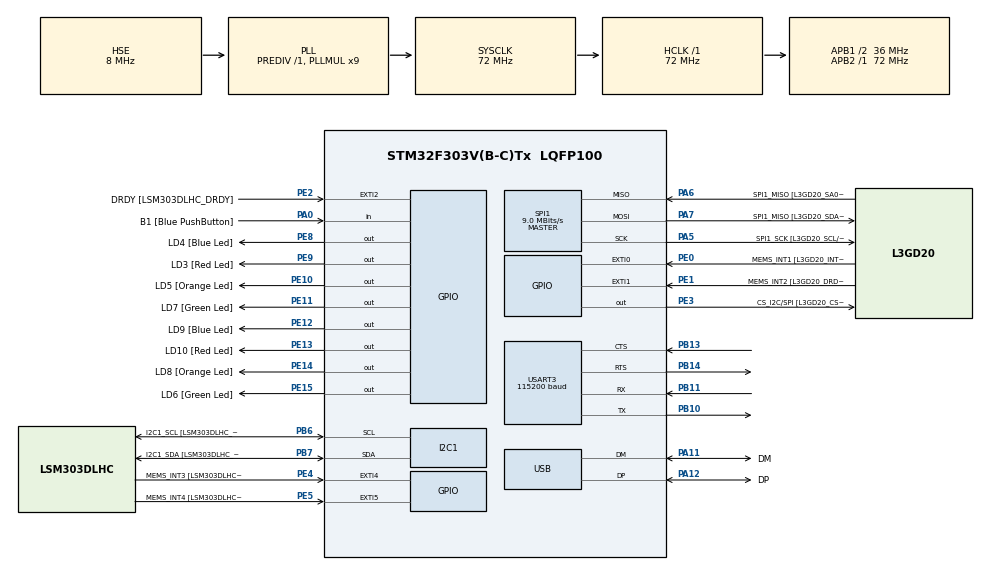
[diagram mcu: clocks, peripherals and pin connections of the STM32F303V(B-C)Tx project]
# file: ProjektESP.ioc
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I2C1.Timing=0x00201D2B
I2C1.Timing-I2C=0x2000090E
Mcu.Family=STM32F3
Mcu.Name=STM32F303V(B-C)Tx
Mcu.Package=LQFP100
NVIC.PriorityGroup=NVIC_PRIORITYGROUP_0
NVIC.USART3_IRQn=true\:0\:0\:false\:false\:true\:true\:true\:true
NVIC.USB_LP_CAN_RX0_IRQn=true\:0\:0\:false\:false\:true\:false\:true\:true
PA0.GPIO_Label=B1 [Blue PushButton]
PA0.Signal=GPIO_Input
PA11.GPIO_Label=DM
PA11.Mode=Device
PA11.Signal=USB_DM
PA12.GPIO_Label=DP
PA12.Mode=Device
PA12.Signal=USB_DP
PA13.GPIO_Label=SWDIO
PA13.Mode=Serial_Wire
PA13.Signal=SYS_JTMS-SWDIO
PA14.GPIO_Label=SWCLK
PA14.Mode=Serial_Wire
PA14.Signal=SYS_JTCK-SWCLK
PA5.GPIO_Label=SPI1_SCK [L3GD20_SCL/SPC]
PA5.Mode=Full_Duplex_Master
PA5.Signal=SPI1_SCK
PA6.GPIO_Label=SPI1_MISO [L3GD20_SA0/SDO]
PA6.Mode=Full_Duplex_Master
PA6.Signal=SPI1_MISO
PA7.GPIO_Label=SPI1_MISO [L3GD20_SDA/SDI/SDO]
PA7.Mode=Full_Duplex_Master
PA7.Signal=SPI1_MOSI
PB10.Mode=Asynchronous
PB10.Signal=USART3_TX
PB11.Mode=Asynchronous
PB11.Signal=USART3_RX
PB13.Mode=CTS_RTS
PB13.Signal=USART3_CTS
PB14.Mode=CTS_RTS
PB14.Signal=USART3_RTS
PB3.GPIO_Label=SWO
PB3.Signal=SYS_JTDO-TRACESWO
PB6.GPIO_Label=I2C1_SCL [LSM303DLHC_SCL]
PB6.GPIO_Pu=GPIO_PULLUP
PB6.Mode=I2C
PB6.Signal=I2C1_SCL
PB7.GPIO_Label=I2C1_SDA [LSM303DLHC_SDA]
PB7.GPIO_Pu=GPIO_PULLUP
PB7.Mode=I2C
PB7.Signal=I2C1_SDA
PC14-OSC32_IN.GPIO_Label=OSC32_IN
PC14-OSC32_IN.Signal=RCC_OSC32_IN
PC15-OSC32_OUT.GPIO_Label=OSC32_OUT
PC15-OSC32_OUT.Signal=RCC_OSC32_OUT
PE0.GPIO_Label=MEMS_INT1 [L3GD20_INT1]
PE0.GPIO_ModeDefaultEXTI=GPIO_MODE_EVT_RISING
PE0.Signal=GPXTI0
PE1.GPIO_Label=MEMS_INT2 [L3GD20_DRDY/INT2]
PE1.GPIO_ModeDefaultEXTI=GPIO_MODE_EVT_RISING
PE1.Signal=GPXTI1
PE10.GPIO_Label=LD5 [Orange Led]
PE10.Signal=GPIO_Output
PE11.GPIO_Label=LD7 [Green Led]
PE11.Signal=GPIO_Output
PE12.GPIO_Label=LD9 [Blue Led]
PE12.Signal=GPIO_Output
PE13.GPIO_Label=LD10 [Red Led]
PE13.Signal=GPIO_Output
PE14.GPIO_Label=LD8 [Orange Led]
PE14.Signal=GPIO_Output
PE15.GPIO_Label=LD6 [Green Led]
PE15.Signal=GPIO_Output
PE2.GPIO_Label=DRDY [LSM303DLHC_DRDY]
PE2.GPIO_ModeDefaultEXTI=GPIO_MODE_EVT_RISING
PE2.Signal=GPXTI2
PE3.GPIO_Label=CS_I2C/SPI [L3GD20_CS_I2C/SPI]
PE3.GPIO_Speed=GPIO_SPEED_FREQ_HIGH
PE3.Signal=GPIO_Output
PE4.GPIO_Label=MEMS_INT3 [LSM303DLHC_INT1]
PE4.GPIO_ModeDefaultEXTI=GPIO_MODE_EVT_RISING
PE4.Signal=GPXTI4
PE5.GPIO_Label=MEMS_INT4 [LSM303DLHC_INT2]
PE5.GPIO_ModeDefaultEXTI=GPIO_MODE_EVT_RISING
PE5.Signal=GPXTI5
PE8.GPIO_Label=LD4 [Blue Led]
PE8.Signal=GPIO_Output
PE9.GPIO_Label=LD3 [Red Led]
PE9.Signal=GPIO_Output
PF0-OSC_IN.GPIO_Label=OSC_IN
PF0-OSC_IN.Mode=HSE-External-Clock-Source
PF0-OSC_IN.Signal=RCC_OSC_IN
PF1-OSC_OUT.GPIO_Label=OSC_OUT
PF1-OSC_OUT.Signal=RCC_OSC_OUT
ProjectManager.HeapSize=0x200
ProjectManager.StackSize=0x400
ProjectManager.TargetToolchain=STM32CubeIDE
RCC.AHBFreq_Value=72000000
RCC.APB1CLKDivider=RCC_HCLK_DIV2
RCC.APB1Freq_Value=36000000
RCC.APB1TimFreq_Value=72000000
RCC.APB2Freq_Value=72000000
RCC.APB2TimFreq_Value=72000000
RCC.CortexFreq_Value=72000000
RCC.HCLKFreq_Value=72000000
RCC.HSE_VALUE=8000000
RCC.HSI_VALUE=8000000
RCC.LSE_VALUE=32768
RCC.PLLMUL=RCC_PLL_MUL9
RCC.PRESCALERUSB=RCC_USBCLKSOURCE_PLL_DIV1_5
RCC.SYSCLKFreq_VALUE=72000000
RCC.SYSCLKSourceVirtual=RCC_SYSCLKSOURCE_PLLCLK
RCC.USBFreq_Value=48000000
SPI1.BaudRatePrescaler=SPI_BAUDRATEPRESCALER_8
SPI1.BaudRatePrescaler-Full_Duplex_Master=SPI_BAUDRATEPRESCALER_2
SPI1.CLKPhase=SPI_PHASE_2EDGE
SPI1.CLKPolarity=SPI_POLARITY_HIGH
SPI1.CalculateBaudRate=9.0 MBits/s
SPI1.CalculateBaudRate-Full_Duplex_Master=24.0 MBits/s
SPI1.DataSize=SPI_DATASIZE_8BIT
SPI1.Direction=SPI_DIRECTION_2LINES
SPI1.Mode=SPI_MODE_MASTER
SPI1.Mode-Full_Duplex_Master=SPI_MODE_MASTER
SPI1.VirtualType=VM_MASTER
TIM2.Period=119
TIM2.Prescaler=599
TIM3.Period=119
TIM3.Prescaler=599
USART3.BaudRate=115200
USART3.VirtualMode-Asynchronous=VM_ASYNC
USB_DEVICE.CLASS_NAME_FS=CDC
USB_DEVICE.VirtualMode=Cdc
USB_DEVICE.VirtualModeFS=Cdc_FS
VP_TIM2_VS_ClockSourceINT.Mode=Internal
VP_TIM3_VS_ClockSourceINT.Mode=Internal
VP_USB_DEVICE_VS_USB_DEVICE_CDC_FS.Mode=CDC_FS
board=STM32F3DISCOVERY

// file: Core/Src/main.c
/* USER CODE BEGIN Header */
/**
  ******************************************************************************
  * @file           : main.c
  * @brief          : Main program body
  ******************************************************************************
  * @attention
  *
  * Copyright (c) 2025 STMicroelectronics.
  * All rights reserved.
  *
  * This software is licensed under terms that can be found in the LICENSE file
  * in the root directory of this software component.
  * If no LICENSE file comes with this software, it is provided AS-IS.
  *
  ******************************************************************************
  */
/* USER CODE END Header */
#include "main.h"
#include "usb_device.h"

/* USER CODE BEGIN Includes */
#include "usbd_cdc_if.h"
#include <stdio.h>
#include <string.h>
#include <stdbool.h>
#include <stddef.h>
/* USER CODE END Includes */

/* USER CODE BEGIN PD */
#define GYRO_SENS_500DPS  (0.0175f)

// Filter parameters
#define GYRO_FS_HZ         (190.0f)      // sampling frequency (Hz) - prilagodi 190 ali 200
#define FILTER_FC_HZ       (20.0f)        // cutoff frequency (Hz) - spreminjaj za nalogo
#define PI_F               (3.1415926f)
/* USER CODE END PD */

I2C_HandleTypeDef hi2c1;

SPI_HandleTypeDef hspi1;

TIM_HandleTypeDef htim2;
TIM_HandleTypeDef htim3;

UART_HandleTypeDef huart3;

/* USER CODE BEGIN PV */
volatile uint8_t gyro_data_ready = 0;
volatile uint32_t packet_counter = 0;

volatile uint8_t  bias_calibrating = 0;
volatile uint8_t  bias_done        = 0;
volatile uint32_t tim3_ticks       = 0;

int32_t bias_sum_x = 0;
int32_t bias_sum_y = 0;
int32_t bias_sum_z = 0;
uint32_t bias_sample_count = 0;

float bias_x = 0.0f;
float bias_y = 0.0f;
float bias_z = 0.0f;

float filt_x = 0.0f;
float filt_y = 0.0f;
float filt_z = 0.0f;
uint8_t filter_initialized = 0;

float filter_alpha = 0.0f;

int16_t raw[3];      // raw X, Y, Z
char tx_buf[128];    // JSON line

uint8_t bias_applied = 0;//

/*static const char http_hello[] =
"HTTP/1.1 200 OK\r\n"
"Content-Type: text/html\r\n"
"Connection: close\r\n"
"Content-Length: 46\r\n"
"\r\n"
"<!DOCTYPE html><html><body>Hello</body></html>";*/

//char wifi_ssid[64] = "Stan6";
//char wifi_pass[64] = "stanovanje6";
char wifi_ssid[64] = "iPhones";
char wifi_pass[64] = "picimiki123456";
//char wifi_ssid[64] = "iPhone";
//char wifi_pass[64] = "klobasa4444";
uint8_t done = 0;
uint8_t server_started = 0;
uint8_t wifi_reconfig = 0;   // NEW flag

#define ESP_RX_SZ 4096
static uint8_t  esp_rx[ESP_RX_SZ];
static uint32_t esp_rx_len = 0;

volatile uint8_t esp_got_prompt = 0;
volatile uint8_t esp_send_ok    = 0;
volatile uint8_t esp_error      = 0;

static uint8_t rx_byte;

volatile uint8_t  send_tick_50ms = 0;
volatile uint8_t ms_cnt  = 0;

volatile uint8_t esp_busy = 0;
volatile uint8_t link_ok = 0;

volatile uint8_t  post_blocked = 0;
volatile uint32_t post_block_until_ms = 0;

#define POST_BLOCK_MS 800

/* USER CODE END PV */

void SystemClock_Config(void);
static void MX_GPIO_Init(void);
static void MX_I2C1_Init(void);
static void MX_SPI1_Init(void);
static void MX_TIM3_Init(void);
static void MX_USART3_UART_Init(void);
static void MX_TIM2_Init(void);
/* USER CODE BEGIN PFP */

uint8_t spi1_beriRegister(uint8_t);
void spi1_beriRegistre(uint8_t, uint8_t*, uint8_t);
void spi1_pisiRegister(uint8_t, uint8_t);

//static bool ESP_SendHTTP(int conn_id, const char *page);

void initL3GD20(void);

void BlockPosting(uint32_t ms);
uint8_t PostingAllowed(void);
void parse_query_kv(char *query);
/* USER CODE END PFP */

/* USER CODE BEGIN 0 */

// Pavza, s katero omogocimo pravilno delovanje avtomatskega testa
void start_bias_calibration(void)
{
  bias_calibrating   = 1;
  bias_done          = 0;
  tim3_ticks         = 0;
  bias_sum_x         = 0;
  bias_sum_y         = 0;
  bias_sum_z         = 0;
  bias_sample_count  = 0;

  // Turn on LED PE8 (LD8) to show calibration in progress
  HAL_GPIO_WritePin(GPIOE, LD8_Pin, GPIO_PIN_SET);

  // Reset and start TIM3 with interrupt
  __HAL_TIM_SET_COUNTER(&htim3, 0);
  HAL_TIM_Base_Start_IT(&htim3);
}

void HAL_TIM_PeriodElapsedCallback(TIM_HandleTypeDef *htim)
{
  if (htim->Instance == TIM3)
  {
    if (bias_calibrating)
    {
      tim3_ticks++;

      if (tim3_ticks >= 2917)
      {
        bias_calibrating = 0;
        bias_done        = 1;

        // Stop timer
        HAL_TIM_Base_Stop_IT(&htim3);

        // Turn off LED PE8 (LD8) at end of calibration
        HAL_GPIO_WritePin(GPIOE, LD8_Pin, GPIO_PIN_RESET);
      }
    }
  }
  else if (htim->Instance == TIM2)
  {
      if (++ms_cnt >= 100)
      {
    	  send_tick_50ms = 1;
          ms_cnt = 0;
      }
  }
}

void pavza(){
  uint32_t counter = 0;
  for(counter=0; counter<600; counter++){
    asm("nop");
  }
}

uint8_t spi1_beriRegister(uint8_t reg)
{
  uint16_t buf_out, buf_in;
  reg |= 0x80; // najpomembnejsi bit na 1
  buf_out = reg; // little endian, se postavi na pravo mesto ....
  HAL_GPIO_WritePin(GPIOE, GPIO_PIN_3, GPIO_PIN_RESET);
  pavza();
  //HAL_SPI_TransmitReceive(&hspi1, (uint8_t*)&buf_out, (uint8_t*)&buf_in, 2, 2); // blocking posiljanje ....
  HAL_SPI_TransmitReceive(&hspi1, &((uint8_t*)&buf_out)[0], &((uint8_t*)&buf_in)[0], 1, 2); // razbito na dva dela, da se podaljsa cas in omogoci pravilno delovanje testa
  pavza();
  HAL_SPI_TransmitReceive(&hspi1, &((uint8_t*)&buf_out)[1], &((uint8_t*)&buf_in)[1], 1, 2); // razbito na dva dela, da se podaljsa cas in omogoci pravilno delovanje testa
  HAL_GPIO_WritePin(GPIOE, GPIO_PIN_3, GPIO_PIN_SET);
  pavza();
  return buf_in >> 8; // little endian...
}

void spi1_pisiRegister(uint8_t reg, uint8_t vrednost)
{
  uint16_t buf_out;
  buf_out = reg | (vrednost<<8); // little endian, se postavi na pravo mesto ....
  HAL_GPIO_WritePin(GPIOE, GPIO_PIN_3, GPIO_PIN_RESET);
  pavza();
  //HAL_SPI_Transmit(&hspi1, (uint8_t*)&buf_out, 2, 2); // blocking posiljanje ....
  HAL_SPI_Transmit(&hspi1, &((uint8_t*)&buf_out)[0], 1, 2); // razbito na dva dela, da se podaljsa cas in omogoci pravilno delovanje testa
  pavza();
  HAL_SPI_Transmit(&hspi1, &((uint8_t*)&buf_out)[1], 1, 2); // razbito na dva dela, da se podaljsa cas in omogoci pravilno delovanje testa
  HAL_GPIO_WritePin(GPIOE, GPIO_PIN_3, GPIO_PIN_SET);
  pavza();
}

void spi1_beriRegistre(uint8_t reg, uint8_t* buffer, uint8_t velikost)
{
  reg |= 0xC0; // najpomembnejsa bita na 1
  HAL_GPIO_WritePin(GPIOE, GPIO_PIN_3, GPIO_PIN_RESET);
  pavza();
  HAL_SPI_Transmit(&hspi1, &reg, 1, 10); // blocking posiljanje....
  pavza();
  HAL_SPI_Receive(&hspi1,  buffer, velikost, velikost); // blocking posiljanje....
  HAL_GPIO_WritePin(GPIOE, GPIO_PIN_3, GPIO_PIN_SET);
  pavza();
}

void initL3GD20(void)
{
  // WHO_AM_I = 0x0F
  uint8_t cip = spi1_beriRegister(0x0F);

  // L3GD20: 0xD4, I3G4250D: 0xD3
  if (cip != 0xD4 && cip != 0xD3)
    for (;;) ; // wrong chip → stop here

  // CTRL_REG1 (0x20):
  // DR=01 (190/200 Hz), BW=00, PD=1, X/Y/Z enable
  spi1_pisiRegister(0x20, 0x4F);

  // CTRL_REG3 (0x22):
  // I2_DRDY = 1 → data ready on INT2/DRDY pin
  spi1_pisiRegister(0x22, 0x08);

  // CTRL_REG4 (0x23):
  // FS[1:0] = 01 → 500 dps
  spi1_pisiRegister(0x23, 0x10);
}

void HAL_GPIO_EXTI_Callback(uint16_t GPIO_Pin)
{
  if (GPIO_Pin == MEMS_INT2_Pin)  // PE1, INT2 from gyro
  {
	gyro_data_ready = 1;
  }
}

//------------------------------------------------------------

void CDC_Print(const char *s)
{
  while (CDC_Transmit_FS((uint8_t*)s, strlen(s)) == USBD_BUSY) {}
}

//------------------------------------------------------------

void ESP_ClearRx(void){
	esp_rx_len = 0;
	esp_rx[0] = 0;
}

static bool ESP_SendCmd_Wait(UART_HandleTypeDef *huart,const char *cmd,const char *ok_str, const char *err_str,uint32_t timeout_ms,
                            uint8_t *resp_out, uint32_t resp_out_sz,uint32_t *resp_len_out)
{
    if (resp_len_out) *resp_len_out = 0;

    ESP_ClearRx();  // <-- FLUSH before every command

    // send "cmd\r\n"
    char line[256];
    snprintf(line, sizeof(line), "%s\r\n", cmd);
    HAL_UART_Transmit(huart, (uint8_t*)line, strlen(line), 1000);

    uint32_t t0 = HAL_GetTick();

    while ((HAL_GetTick() - t0) < timeout_ms)
    {
        // buffer is already null-terminated in ISR, but keep safe
        uint32_t len = esp_rx_len;
        if (len >= ESP_RX_SZ) len = ESP_RX_SZ - 1;
        esp_rx[len] = 0;

        if (ok_str && strstr((char*)esp_rx, ok_str))
            goto done_ok;

        if (err_str && strstr((char*)esp_rx, err_str))
            goto done_err;

        HAL_Delay(1);
    }

done_err:
    // copy response (optional)
    if (resp_out && resp_out_sz)
    {
        uint32_t cpy = (esp_rx_len < resp_out_sz - 1) ? esp_rx_len : (resp_out_sz - 1);
        memcpy(resp_out, esp_rx, cpy);
        resp_out[cpy] = 0;
        if (resp_len_out) *resp_len_out = cpy;
    }
    return false;

done_ok:
    if (resp_out && resp_out_sz)
    {
        uint32_t cpy = (esp_rx_len < resp_out_sz - 1) ? esp_rx_len : (resp_out_sz - 1);
        memcpy(resp_out, esp_rx, cpy);
        resp_out[cpy] = 0;
        if (resp_len_out) *resp_len_out = cpy;
    }
    return true;
}

// ====== ESP init sequence ======

typedef enum {
		ESP_INIT_OK = 0,
		ESP_INIT_NO_AT,
		ESP_INIT_WIFI_MODE_FAIL,
		ESP_INIT_JOIN_FAIL,
		ESP_INIT_NO_IP
	} esp_init_status_t;

	void ESP_RxStart(void)
	{
	    ESP_ClearRx();
	    HAL_UART_Receive_IT(&huart3, &rx_byte, 1);
	}

	esp_init_status_t ESP_Init(const char *ssid, const char *pass)
	{
	    uint8_t  resp[512];
	    uint32_t rlen;

	    // 1) AT check (retry a few times)
	    for (int attempt = 0; attempt < 5; attempt++)
	    {
	        if (ESP_SendCmd_Wait(&huart3, "AT", "OK", "ERROR", 500, resp, sizeof(resp), &rlen))
	            goto at_ok;

	        HAL_Delay(200);
	    }
	    return ESP_INIT_NO_AT;

	at_ok:
	    // 2) Echo off (optional)
	    ESP_SendCmd_Wait(&huart3, "ATE0", "OK", "ERROR", 500, resp, sizeof(resp), &rlen);

	    // 3) Station mode
	    if (!ESP_SendCmd_Wait(&huart3, "AT+CWMODE=1", "OK", "ERROR", 1000, resp, sizeof(resp), &rlen))
	        return ESP_INIT_WIFI_MODE_FAIL;

	    // 4) Join AP
	    char join_cmd[256];
	    snprintf(join_cmd, sizeof(join_cmd), "AT+CWJAP=\"%s\",\"%s\"", ssid, pass);

	    if (!ESP_SendCmd_Wait(&huart3, join_cmd, "OK", "FAIL", 15000, resp, sizeof(resp), &rlen))
	        return ESP_INIT_JOIN_FAIL;

	    // 5) Confirm IP
	    if (!ESP_SendCmd_Wait(&huart3, "AT+CIFSR", "STAIP", "ERROR", 3000, resp, sizeof(resp), &rlen))
	        return ESP_INIT_NO_IP;

	    return ESP_INIT_OK;
	}

	static bool ESP_GetAndPrintIP(void)
	{
	    // Send command (and flush)
	    ESP_ClearRx();
	    HAL_UART_Transmit(&huart3, (uint8_t*)"AT+CIFSR\r\n", 10, 1000);

	    uint32_t t0 = HAL_GetTick();
	    while ((HAL_GetTick() - t0) < 3000)
	    {
	        // make sure it's terminated
	        uint32_t len = esp_rx_len;
	        if (len >= ESP_RX_SZ) len = ESP_RX_SZ - 1;
	        esp_rx[len] = 0;

	        // find STAIP,"
	        char *p = strstr((char*)esp_rx, "STAIP,\"");
	        if (p)
	        {
	            p += strlen("STAIP,\"");

	            // find closing quote after IP
	            char *q = strchr(p, '"');
	            if (q && q > p)
	            {
	                char ip[32];
	                int n = (int)(q - p);
	                if (n > (int)sizeof(ip) - 1) n = sizeof(ip) - 1;

	                memcpy(ip, p, n);
	                ip[n] = 0;

	                CDC_Print(ip);
	                CDC_Print("\r\n");   // use CRLF, not \n\r
	                return true;
	            }
	        }

	        HAL_Delay(1);
	    }

	    CDC_Print("ESP IP not available yet\r\n");
	    return false;
	}

void ESP_StartWebServer(void)
{
    uint8_t resp[256];
    uint32_t rlen;

    CDC_Print("Starting web server...\r\n");

    // ---- FORCE ACTIVE RECEIVE MODE (IMPORTANT) ----
    ESP_SendCmd_Wait(&huart3, "AT+CIPMODE=0",     "OK", "ERROR", 1000, resp, sizeof(resp), &rlen);
    ESP_SendCmd_Wait(&huart3, "AT+CIPRECVMODE=0", "OK", "ERROR", 1000, resp, sizeof(resp), &rlen);
    ESP_SendCmd_Wait(&huart3, "AT+CIPDINFO=1",    "OK", "ERROR", 1000, resp, sizeof(resp), &rlen);
    ESP_SendCmd_Wait(&huart3, "AT+CIPSTO=60",     "OK", "ERROR", 1000, resp, sizeof(resp), &rlen);

    // Disable server if it was already running (safe reset)
    ESP_SendCmd_Wait(&huart3, "AT+CIPSERVER=0", "OK", "ERROR", 1000, resp, sizeof(resp), &rlen);

    // Enable multiple connections
    ESP_SendCmd_Wait(&huart3, "AT+CIPMUX=1", "OK", "ERROR", 1000, resp, sizeof(resp), &rlen);

    // Start server on port 80
    ESP_SendCmd_Wait(&huart3, "AT+CIPSERVER=1,80", "OK", "ERROR", 1000, resp, sizeof(resp), &rlen);

    CDC_Print("Web server running on port 80\r\n");
}

//test OK response AT
/*bool ESP_SendAT_OK(UART_HandleTypeDef *huart, uint32_t timeout_ms)
{
    // Clear RX buffer/state
    ESP_ClearRx();

    // Send plain "AT"
    const char at_cmd[] = "AT\r\n";
    HAL_UART_Transmit(huart, (uint8_t*)at_cmd, sizeof(at_cmd) - 1, 1000);

    uint32_t t0 = HAL_GetTick();

    // Wait until "OK" is seen in rx buffer (or timeout)
    while ((HAL_GetTick() - t0) < timeout_ms)
    {
        // Ensure null-terminated so strstr is safe
        uint32_t len = esp_rx_len;
        if (len >= (ESP_RX_SZ - 1)) len = ESP_RX_SZ - 1;
        esp_rx[len] = 0;

        if (strstr((char*)esp_rx, "OK") != NULL)
            return true;

        HAL_Delay(1);
    }

    return false; // timeout
}*/

void HAL_UART_RxCpltCallback(UART_HandleTypeDef *huart)
{
    if (huart == &huart3)
    {
        if (esp_rx_len < (ESP_RX_SZ - 1))
        {
            esp_rx[esp_rx_len++] = rx_byte;
            esp_rx[esp_rx_len] = 0; // keep it a C-string
        }
        // else: buffer full, you can ignore new bytes or wrap

        HAL_UART_Receive_IT(&huart3, &rx_byte, 1);
    }
}

static bool ESP_WaitFor(const char *needle, uint32_t timeout_ms)
{
    uint32_t t0 = HAL_GetTick();
    while ((HAL_GetTick() - t0) < timeout_ms)
    {
        if (strstr((char*)esp_rx, needle)) return true;
        HAL_Delay(1);
    }
    return false;
}

static bool ESP_SendData(uint8_t cid, const char *data)
{

	if (strstr((char*)esp_rx, "+IPD,")) {
	    // let ESP_Pump() consume it first
	    return false;
	}

    char cmd[64];
    int len = (int)strlen(data);

    // IMPORTANT: clear before command so '>'/'SEND OK' are fresh
    ESP_ClearRx();
    snprintf(cmd, sizeof(cmd), "AT+CIPSEND=%u,%d", (unsigned)cid, len);

    // send AT+CIPSEND...
    {
        char line[96];
        snprintf(line, sizeof(line), "%s\r\n", cmd);
        HAL_UART_Transmit(&huart3, (uint8_t*)line, strlen(line), 1000);
    }

    // wait for prompt
    if (!ESP_WaitFor(">", 2000))
    {
        CDC_Print("NO >, RX was:\r\n");
        CDC_Print((char*)esp_rx);
        CDC_Print("\r\n");
        return false;
    }

    // now send the raw HTTP bytes
    ESP_ClearRx();
    HAL_UART_Transmit(&huart3, (uint8_t*)data, len, 2000);

    // wait for SEND OK
    if (!ESP_WaitFor("SEND OK", 3000))
        return false;

    return true;
}

void ESP_Pump(void)
{
    // Look for +IPD,<id>,
    char *p = strstr((char*)esp_rx, "+IPD,");
    if (!p) return;

    // Parse connection ID: +IPD,<id>,<len>:...
    int cid = -1;
    if (sscanf(p, "+IPD,%d,", &cid) != 1) {
        ESP_ClearRx();
        return;
    }

    if (cid >= 0 && cid <= 3) {
        // any web traffic -> block posting for a short time
        BlockPosting(POST_BLOCK_MS);
    }

    if (cid == 4) {
            // This is the response to our outgoing POST; do NOT close it here.
            // Optionally print it:
            //CDC_Print("CLIENT RX:\r\n"); CDC_Print(p); CDC_Print("\r\n");
            ESP_ClearRx();
            return;
        }
    // ---------- 1) Handle SUBMIT: GET /set?ssid=...&pass=... ----------
    if (strstr(p, "GET /set?") != NULL)
    {
        // DEBUG: show the request chunk we have
        CDC_Print("REQ:\r\n");
        CDC_Print(p);
        CDC_Print("\r\n");

        // URL looks like: GET /set?ssid=AAA&pass=BBB HTTP/1.1
        char *qs = strstr(p, "GET /set?");
        qs += strlen("GET /set?");

        // Find end of URL: prefer " HTTP/" (robust), fallback to space
        char *end = strstr(qs, " HTTP/");
        if (!end) end = strchr(qs, ' ');

        if (!end)
        {
            CDC_Print("PARSE: no end marker yet\r\n");
            // Do NOT clear rx here; wait for more data next ESP_Pump() call
            return;
        }

        char query[256];
        int n = (int)(end - qs);
        if (n < 0) n = 0;
        if (n > (int)sizeof(query) - 1) n = sizeof(query) - 1;
        memcpy(query, qs, n);
        query[n] = 0;

        CDC_Print("QUERY:\r\n");
        CDC_Print(query);
        CDC_Print("\r\n");

        parse_query_kv(query);

        CDC_Print("NEW SSID: "); CDC_Print(wifi_ssid); CDC_Print("\r\n");
        CDC_Print("NEW PASS: "); CDC_Print(wifi_pass); CDC_Print("\r\n");

        wifi_reconfig = 1;
        server_started = 0;

        // Reply "Saved"
        const char *body =
            "<!DOCTYPE html><html><body>"
            "<h2>Saved</h2>"
            "<p>Reconnecting...</p>"
            "</body></html>";

        char resp[1024];
        int body_len = (int)strlen(body);

        snprintf(resp, sizeof(resp),
            "HTTP/1.1 200 OK\r\n"
            "Content-Type: text/html\r\n"
            "Connection: close\r\n"
            "Content-Length: %d\r\n"
            "\r\n"
            "%s",
            body_len, body);
        ESP_ClearRx();
        (void)ESP_SendData((uint8_t)cid, resp);

        // Close
        {
            char close_cmd[32];
            ESP_ClearRx();
            snprintf(close_cmd, sizeof(close_cmd), "AT+CIPCLOSE=%d\r\n", cid);
            HAL_UART_Transmit(&huart3, (uint8_t*)close_cmd, strlen(close_cmd), 1000);
        }

        ESP_ClearRx();
        BlockPosting(POST_BLOCK_MS);
        return;
    }

    // ---------- 2) Serve ROOT page: GET / HTTP ----------
    if (strstr(p, "GET / HTTP") != NULL)
    {
        const char *body =
            "<!DOCTYPE html>"
            "<html><body>"
            "<h2>WiFi Setup</h2>"
            "<form action=\"/set\" method=\"get\">"
            "SSID:<br><input name=\"ssid\"><br>"
            "PASS:<br><input type=\"password\" name=\"pass\"><br><br>"
            "<input type=\"submit\" value=\"Save\">"
            "</form>"
            "</body></html>";

        // BIGGER BUFFER to avoid truncation/hang
        char resp[1024];
        int body_len = (int)strlen(body);

        snprintf(resp, sizeof(resp),
            "HTTP/1.1 200 OK\r\n"
            "Content-Type: text/html\r\n"
            "Connection: close\r\n"
            "Content-Length: %d\r\n"
            "\r\n"
            "%s",
            body_len, body);
        ESP_ClearRx();
        (void)ESP_SendData((uint8_t)cid, resp);

        // Close
        {
            char close_cmd[32];
            ESP_ClearRx();
            snprintf(close_cmd, sizeof(close_cmd), "AT+CIPCLOSE=%d\r\n", cid);
            HAL_UART_Transmit(&huart3, (uint8_t*)close_cmd, strlen(close_cmd), 1000);
        }

        ESP_ClearRx();
        BlockPosting(POST_BLOCK_MS);
        return;
    }

    // ---------- 3) Anything else: close ----------
    {
        char close_cmd[32];
        ESP_ClearRx();
        snprintf(close_cmd, sizeof(close_cmd), "AT+CIPCLOSE=%d\r\n", cid);
        HAL_UART_Transmit(&huart3, (uint8_t*)close_cmd, strlen(close_cmd), 1000);
        ESP_ClearRx();
    }
}

void parse_query_kv(char *query)
{
    char *saveptr = NULL;
    char *tok = strtok_r(query, "&", &saveptr);

    while (tok)
    {
        if (strncmp(tok, "ssid=", 5) == 0)
        {
            strncpy(wifi_ssid, tok + 5, sizeof(wifi_ssid) - 1);
            wifi_ssid[sizeof(wifi_ssid) - 1] = 0;
        }
        else if (strncmp(tok, "pass=", 5) == 0)
        {
            strncpy(wifi_pass, tok + 5, sizeof(wifi_pass) - 1);
            wifi_pass[sizeof(wifi_pass) - 1] = 0;
        }

        tok = strtok_r(NULL, "&", &saveptr);
    }
}

static int ESP_WaitConnectResult(uint32_t timeout_ms)
{
    uint32_t t0 = HAL_GetTick();

    while ((HAL_GetTick() - t0) < timeout_ms)
    {
        // ----- FAILURES -----
        if (strstr((char*)esp_rx, "ERROR"))  return -1;
        if (strstr((char*)esp_rx, "FAIL"))   return -1;
        if (strstr((char*)esp_rx, "busy"))   return -1;
        if (strstr((char*)esp_rx, "CLOSED")) return -1;

        // ----- SUCCESSES -----
        if (strstr((char*)esp_rx, "ALREADY CONNECTED")) return 1;
        if (strstr((char*)esp_rx, "CONNECT"))           return 1;
        if (strstr((char*)esp_rx, "OK"))                return 1;

        HAL_Delay(1);
    }

    // timeout
    return 0;
}

static bool ESP_SSL_Connect(uint8_t link_id, const char *host, uint16_t port)
{
    char cmd[128];

    // If already connected, keep it
    ESP_ClearRx();
    snprintf(cmd, sizeof(cmd), "AT+CIPSTATUS\r\n");
    HAL_UART_Transmit(&huart3, (uint8_t*)cmd, strlen(cmd), 1000);
    HAL_Delay(50);
    if (strstr((char*)esp_rx, "STATUS:3") || strstr((char*)esp_rx, "STATUS:4"))
        return true;

    // Start SSL
    ESP_ClearRx();
    snprintf(cmd, sizeof(cmd), "AT+CIPSTART=%u,\"SSL\",\"%s\",%u\r\n",
             (unsigned)link_id, host, (unsigned)port);
    HAL_UART_Transmit(&huart3, (uint8_t*)cmd, strlen(cmd), 3000);

    // Wait connect result
    int r = ESP_WaitConnectResult(8000);
    return (r > 0);
}

static bool ESP_HTTP_POST_KeepAlive(uint8_t link_id,
                                   const char *host, uint16_t port,
                                   const char *path,
                                   const char *json_body)
{
    char req[768];
    int body_len = (int)strlen(json_body);

    int req_len = snprintf(req, sizeof(req),
        "POST %s HTTP/1.1\r\n"
        "Host: %s\r\n"
        "Content-Type: application/json\r\n"
        "Content-Length: %d\r\n"
        "Connection: keep-alive\r\n"
        "\r\n"
        "%s",
        path, host, body_len, json_body);

    if (req_len <= 0 || req_len >= (int)sizeof(req))
        return false;

    // send it over the existing connection
    if (!ESP_SendData(link_id, req))
        return false;

    // optional: read response quickly (so buffers don’t fill)
    // (just wait for "HTTP/1.1" or "+IPD" briefly)
    ESP_WaitFor("HTTP/1.1", 500);

    return true;
}

void prepareData(){
	  gyro_data_ready = 0;

	  // Read raw data
	  spi1_beriRegistre(0x28, (uint8_t*)raw, 6);

	  if (bias_calibrating)
	  {
		// During calibration: accumulate sums
		bias_sum_x += raw[0];
		bias_sum_y += raw[1];
		bias_sum_z += raw[2];
		bias_sample_count++;
	  }
	  else
	  {
		// If calibration time is over and we haven't computed bias yet
		if (bias_done && !bias_applied && bias_sample_count > 0)
		{
		  bias_x = (float)bias_sum_x / (float)bias_sample_count;
		  bias_y = (float)bias_sum_y / (float)bias_sample_count;
		  bias_z = (float)bias_sum_z / (float)bias_sample_count;

		  bias_applied = 1;
		}

		// Only send meaningful data once bias is known
		if (bias_applied)
		{
			// 1) raw -> dps (brez filtra)
			float x_dps = (raw[0] - bias_x) * GYRO_SENS_500DPS;
			float y_dps = (raw[1] - bias_y) * GYRO_SENS_500DPS;
			float z_dps = (raw[2] - bias_z) * GYRO_SENS_500DPS;

			// 2) inicializacija filtra pri prvem vzorcu
			if (!filter_initialized)
			{
				filt_x = x_dps;
				filt_y = y_dps;
				filt_z = z_dps;
				filter_initialized = 1;
			}
			else
			{
				// 3) nizko-prepustni filter (za vsako os posebej)
				filt_x = filt_x + filter_alpha * (x_dps - filt_x);
				filt_y = filt_y + filter_alpha * (y_dps - filt_y);
				filt_z = filt_z + filter_alpha * (z_dps - filt_z);
			}

			// 4) pošiljamo že FILTRIRANE vrednosti
			int len = snprintf(
			    tx_buf,
			    sizeof(tx_buf),
			    "{\"deviceId\":\"esp32-01\", \"GYR\":%lu, \"X\":%.3f, \"Y\":%.3f, \"Z\":%.3f}\r\n",
			    (unsigned long)packet_counter++,
			    filt_x, filt_y, filt_z
			);

			//CDC_Print(tx_buf);
			HAL_GPIO_TogglePin(GPIOE, LD3_Pin);
		}
	  }
}

void BlockPosting(uint32_t ms)
{
    post_blocked = 1;
    post_block_until_ms = HAL_GetTick() + ms;
}
uint8_t PostingAllowed(void)
{
    if (post_blocked && (int32_t)(HAL_GetTick() - post_block_until_ms) >= 0) {
        post_blocked = 0;
    }
    return (post_blocked == 0);
}

/* USER CODE END 0 */

int main(void)
{

  /* MCU Configuration--------------------------------------------------------*/

  /* Reset of all peripherals, Initializes the Flash interface and the Systick. */
  HAL_Init();

  /* Configure the system clock */
  SystemClock_Config();

  /* Initialize all configured peripherals */
  MX_GPIO_Init();
  MX_I2C1_Init();
  MX_SPI1_Init();
  MX_USB_DEVICE_Init();
  MX_TIM3_Init();
  MX_TIM2_Init();
  MX_USART3_UART_Init();
  ESP_RxStart(); // start the reading from uart
  /* USER CODE BEGIN 2 */

    __HAL_SPI_ENABLE(&hspi1);
    HAL_GPIO_WritePin(GPIOE, GPIO_PIN_3, GPIO_PIN_SET); // CS postavimo na 1

    initL3GD20();   // <<< IMPORTANT: init gyro with new settings

    // Start bias calibration immediately at startup

    float dt = 1.0f / GYRO_FS_HZ;
    float RC = 1.0f / (2.0f * PI_F * FILTER_FC_HZ);
    filter_alpha = dt / (RC + dt);

    //int16_t meritev[4];
    //meritev[0] = 0xaaab;// glava za zaznamek zacetek paketa

  /* USER CODE END 2 */

  /* Infinite loop */
  /* USER CODE BEGIN WHILE */

      //auth = 1; // nima veze na avtentikacijo
    uint8_t timer2 = 1;
    //uint8_t test = 1;
    uint8_t test2 = 1;
    uint8_t calibrate = 1;

      /* USER CODE BEGIN WHILE */
      while (1)
      {
    	  if (gyro_data_ready && auth)
		  {
    		  if(calibrate){
    			 start_bias_calibration();
    			 calibrate = 0;
    		  }
    		  prepareData();
		  }

    	  if(test2){
    	  if(auth && !done && !wifi_reconfig){
    		  CDC_Print("\r\n=== ESP INIT START ===\r\n");

    		      esp_init_status_t st = ESP_Init(wifi_ssid, wifi_pass);

    		          if (st == ESP_INIT_OK)
    		          {
    		        	  //uint8_t resp[512];
    		        	  //uint32_t rlen;

    		        	  ESP_GetAndPrintIP();

    		        	  //ESP_SendCmd_Wait(&huart3, "AT+CWJAP?", "OK", "ERROR", 2000, resp, sizeof(resp), &rlen);
    		        	  //CDC_Print((char*)resp);
    		              done = 1;

    		          }
    		          else
    		          {
    		              CDC_Print("ESP INIT FAILED: ");

    		              switch (st)
    		              {
    		                  case ESP_INIT_NO_AT:
    		                      CDC_Print("No AT response\r\n");
    		                      break;

    		                  case ESP_INIT_WIFI_MODE_FAIL:
    		                      CDC_Print("Failed to set WiFi mode\r\n");
    		                      break;

    		                  case ESP_INIT_JOIN_FAIL:
    		                      CDC_Print("Failed to join AP\r\n");
    		                      break;

    		                  case ESP_INIT_NO_IP:
    		                      CDC_Print("Connected but no IP\r\n");
    		                      break;

    		                  default:
    		                      CDC_Print("Unknown error\r\n");
    		                      break;
    		              }
    		              HAL_Delay(2000);
    		          }

    		          CDC_Print("======================\r\n");
    		  /*if (ESP_SendAT_OK(&huart3, 1000)) {
    		      CDC_Print("ESP OK\r\n");
    		  } else {
    		      CDC_Print("ESP TIMEOUT\r\n");
    		  }*/
    	  }else {
    	        HAL_Delay(1);   // or 5ms
    	  }

    	  if(done && !server_started){
    		  ESP_StartWebServer();
    		  server_started = 1;
    	  }

    	  //static uint32_t t_check = 0;
    	  if(server_started){
    		  /*if(HAL_GetTick() - t_check > 3000){

    			  t_check = HAL_GetTick();
    			      uint8_t resp[512]; uint32_t rlen;

    			      ESP_SendCmd_Wait(&huart3, "AT+CIPSTATUS", "OK", "ERROR", 1000, resp, sizeof(resp), &rlen);
    			      CDC_Print("CIPSTATUS:\r\n");
    			      CDC_Print((char*)resp);
    			      CDC_Print("\r\n");
    		  }*/

    		  if (!esp_busy) {
    		      ESP_Pump();  // only serve web when not doing client transaction
    		  }

    		  if(timer2){
    			  HAL_TIM_Base_Start_IT(&htim2);
    			  CDC_Print("Timer2 start...\r\n");
    			  timer2 = 0;
    		  }
    		  if (send_tick_50ms)
    		  {
    		      send_tick_50ms = 0;

    		      // if web traffic happened recently, do not post now
    		      if (!PostingAllowed()) {
    		          // optional: debug
    		          // CDC_Print("POST blocked (web active)\r\n");
    		          continue;
    		      }

    		      esp_busy = 1;

    		      if (!link_ok) {
    		    	  CDC_Print("connecting");
    		          link_ok = ESP_SSL_Connect(4, "manda-untrailed-debbra.ngrok-free.dev", 443);
    		          if (!link_ok) { esp_busy = 0; continue; }
    		      }

    		      bool ok = ESP_HTTP_POST_KeepAlive(4, "manda-untrailed-debbra.ngrok-free.dev", 443,
    		                                        "/gyro/latest", tx_buf);

    		      if (!ok) {
    		    	  CDC_Print("sending");
    		          link_ok = 0;
    		          ESP_ClearRx();
    		          HAL_UART_Transmit(&huart3, (uint8_t*)"AT+CIPCLOSE=4\r\n", 14, 1000);
    		      }

    		      esp_busy = 0;
    		  }
    	  }

    	  if (wifi_reconfig)
		  {
    		  HAL_TIM_Base_Stop_IT(&htim2);
    		  timer2 = 1;
			  CDC_Print("Reconfiguring WiFi...\r\n");

			  // Stop server cleanly
			  ESP_SendCmd_Wait(&huart3, "AT+CIPSERVER=0", "OK", "ERROR", 1000, NULL, 0, NULL);

			  for (int i = 0; i < 5; i++)   // ESP supports up to 5 links (0–4)
			      {
			          char cmd[32];
			          ESP_ClearRx();
			          snprintf(cmd, sizeof(cmd), "AT+CIPCLOSE=%d\r\n", i);
			          HAL_UART_Transmit(&huart3, (uint8_t*)cmd, strlen(cmd), 500);
			          HAL_Delay(20);
			      }

			  // Optional: disconnect AP
			  ESP_SendCmd_Wait(&huart3, "AT+CWQAP", "OK", "ERROR", 1000, NULL, 0, NULL);

			  done = 0;
			  server_started = 0;
			  wifi_reconfig = 0;
			  link_ok = 0;

			  HAL_Delay(500);
		  }
    	  HAL_Delay(1);
	  }

   }
    /* USER CODE END WHILE */

}

void SystemClock_Config(void)
{
  RCC_OscInitTypeDef RCC_OscInitStruct = {0};
  RCC_ClkInitTypeDef RCC_ClkInitStruct = {0};
  RCC_PeriphCLKInitTypeDef PeriphClkInit = {0};

  /** Initializes the RCC Oscillators according to the specified parameters
  * in the RCC_OscInitTypeDef structure.
  */
  RCC_OscInitStruct.OscillatorType = RCC_OSCILLATORTYPE_HSI|RCC_OSCILLATORTYPE_HSE;
  RCC_OscInitStruct.HSEState = RCC_HSE_BYPASS;
  RCC_OscInitStruct.HSEPredivValue = RCC_HSE_PREDIV_DIV1;
  RCC_OscInitStruct.HSIState = RCC_HSI_ON;
  RCC_OscInitStruct.HSICalibrationValue = RCC_HSICALIBRATION_DEFAULT;
  RCC_OscInitStruct.PLL.PLLState = RCC_PLL_ON;
  RCC_OscInitStruct.PLL.PLLSource = RCC_PLLSOURCE_HSE;
  RCC_OscInitStruct.PLL.PLLMUL = RCC_PLL_MUL9;
  if (HAL_RCC_OscConfig(&RCC_OscInitStruct) != HAL_OK)
  {
    Error_Handler();
  }

  /** Initializes the CPU, AHB and APB buses clocks
  */
  RCC_ClkInitStruct.ClockType = RCC_CLOCKTYPE_HCLK|RCC_CLOCKTYPE_SYSCLK
                              |RCC_CLOCKTYPE_PCLK1|RCC_CLOCKTYPE_PCLK2;
  RCC_ClkInitStruct.SYSCLKSource = RCC_SYSCLKSOURCE_PLLCLK;
  RCC_ClkInitStruct.AHBCLKDivider = RCC_SYSCLK_DIV1;
  RCC_ClkInitStruct.APB1CLKDivider = RCC_HCLK_DIV2;
  RCC_ClkInitStruct.APB2CLKDivider = RCC_HCLK_DIV1;

  if (HAL_RCC_ClockConfig(&RCC_ClkInitStruct, FLASH_LATENCY_2) != HAL_OK)
  {
    Error_Handler();
  }
  PeriphClkInit.PeriphClockSelection = RCC_PERIPHCLK_USB|RCC_PERIPHCLK_USART3
                              |RCC_PERIPHCLK_I2C1;
  PeriphClkInit.Usart3ClockSelection = RCC_USART3CLKSOURCE_PCLK1;
  PeriphClkInit.I2c1ClockSelection = RCC_I2C1CLKSOURCE_HSI;
  PeriphClkInit.USBClockSelection = RCC_USBCLKSOURCE_PLL_DIV1_5;
  if (HAL_RCCEx_PeriphCLKConfig(&PeriphClkInit) != HAL_OK)
  {
    Error_Handler();
  }
}

static void MX_I2C1_Init(void)
{

  hi2c1.Instance = I2C1;
  hi2c1.Init.Timing = 0x00201D2B;
  hi2c1.Init.OwnAddress1 = 0;
  hi2c1.Init.AddressingMode = I2C_ADDRESSINGMODE_7BIT;
  hi2c1.Init.DualAddressMode = I2C_DUALADDRESS_DISABLE;
  hi2c1.Init.OwnAddress2 = 0;
  hi2c1.Init.OwnAddress2Masks = I2C_OA2_NOMASK;
  hi2c1.Init.GeneralCallMode = I2C_GENERALCALL_DISABLE;
  hi2c1.Init.NoStretchMode = I2C_NOSTRETCH_DISABLE;
  if (HAL_I2C_Init(&hi2c1) != HAL_OK)
  {
    Error_Handler();
  }

  /** Configure Analogue filter
  */
  if (HAL_I2CEx_ConfigAnalogFilter(&hi2c1, I2C_ANALOGFILTER_ENABLE) != HAL_OK)
  {
    Error_Handler();
  }

  /** Configure Digital filter
  */
  if (HAL_I2CEx_ConfigDigitalFilter(&hi2c1, 0) != HAL_OK)
  {
    Error_Handler();
  }

}

static void MX_SPI1_Init(void)
{

  /* SPI1 parameter configuration*/
  hspi1.Instance = SPI1;
  hspi1.Init.Mode = SPI_MODE_MASTER;
  hspi1.Init.Direction = SPI_DIRECTION_2LINES;
  hspi1.Init.DataSize = SPI_DATASIZE_8BIT;
  hspi1.Init.CLKPolarity = SPI_POLARITY_HIGH;
  hspi1.Init.CLKPhase = SPI_PHASE_2EDGE;
  hspi1.Init.NSS = SPI_NSS_SOFT;
  hspi1.Init.BaudRatePrescaler = SPI_BAUDRATEPRESCALER_8;
  hspi1.Init.FirstBit = SPI_FIRSTBIT_MSB;
  hspi1.Init.TIMode = SPI_TIMODE_DISABLE;
  hspi1.Init.CRCCalculation = SPI_CRCCALCULATION_DISABLE;
  hspi1.Init.CRCPolynomial = 7;
  hspi1.Init.CRCLength = SPI_CRC_LENGTH_DATASIZE;
  hspi1.Init.NSSPMode = SPI_NSS_PULSE_DISABLE;
  if (HAL_SPI_Init(&hspi1) != HAL_OK)
  {
    Error_Handler();
  }

}

static void MX_TIM2_Init(void)
{

  TIM_ClockConfigTypeDef sClockSourceConfig = {0};
  TIM_MasterConfigTypeDef sMasterConfig = {0};

  htim2.Instance = TIM2;
  htim2.Init.Prescaler = 599;
  htim2.Init.CounterMode = TIM_COUNTERMODE_UP;
  htim2.Init.Period = 119;
  htim2.Init.ClockDivision = TIM_CLOCKDIVISION_DIV1;
  htim2.Init.AutoReloadPreload = TIM_AUTORELOAD_PRELOAD_DISABLE;
  if (HAL_TIM_Base_Init(&htim2) != HAL_OK)
  {
    Error_Handler();
  }
  sClockSourceConfig.ClockSource = TIM_CLOCKSOURCE_INTERNAL;
  if (HAL_TIM_ConfigClockSource(&htim2, &sClockSourceConfig) != HAL_OK)
  {
    Error_Handler();
  }
  sMasterConfig.MasterOutputTrigger = TIM_TRGO_RESET;
  sMasterConfig.MasterSlaveMode = TIM_MASTERSLAVEMODE_DISABLE;
  if (HAL_TIMEx_MasterConfigSynchronization(&htim2, &sMasterConfig) != HAL_OK)
  {
    Error_Handler();
  }
  /* USER CODE BEGIN TIM2_Init 2 */
  HAL_NVIC_SetPriority(TIM2_IRQn, 2, 0);
  HAL_NVIC_EnableIRQ(TIM2_IRQn);
  /* USER CODE END TIM2_Init 2 */

}

static void MX_TIM3_Init(void)
{

  TIM_ClockConfigTypeDef sClockSourceConfig = {0};
  TIM_MasterConfigTypeDef sMasterConfig = {0};

  htim3.Instance = TIM3;
  htim3.Init.Prescaler = 599;
  htim3.Init.CounterMode = TIM_COUNTERMODE_UP;
  htim3.Init.Period = 119;
  htim3.Init.ClockDivision = TIM_CLOCKDIVISION_DIV1;
  htim3.Init.AutoReloadPreload = TIM_AUTORELOAD_PRELOAD_DISABLE;
  if (HAL_TIM_Base_Init(&htim3) != HAL_OK)
  {
    Error_Handler();
  }
  sClockSourceConfig.ClockSource = TIM_CLOCKSOURCE_INTERNAL;
  if (HAL_TIM_ConfigClockSource(&htim3, &sClockSourceConfig) != HAL_OK)
  {
    Error_Handler();
  }
  sMasterConfig.MasterOutputTrigger = TIM_TRGO_RESET;
  sMasterConfig.MasterSlaveMode = TIM_MASTERSLAVEMODE_DISABLE;
  if (HAL_TIMEx_MasterConfigSynchronization(&htim3, &sMasterConfig) != HAL_OK)
  {
    Error_Handler();
  }
  /* USER CODE BEGIN TIM3_Init 2 */
  HAL_NVIC_SetPriority(TIM3_IRQn, 1, 0);
  HAL_NVIC_EnableIRQ(TIM3_IRQn);
  /* USER CODE END TIM3_Init 2 */

}

static void MX_USART3_UART_Init(void)
{

  huart3.Instance = USART3;
  huart3.Init.BaudRate = 115200;
  huart3.Init.WordLength = UART_WORDLENGTH_8B;
  huart3.Init.StopBits = UART_STOPBITS_1;
  huart3.Init.Parity = UART_PARITY_NONE;
  huart3.Init.Mode = UART_MODE_TX_RX;
  huart3.Init.HwFlowCtl = UART_HWCONTROL_RTS_CTS;
  huart3.Init.OverSampling = UART_OVERSAMPLING_16;
  huart3.Init.OneBitSampling = UART_ONE_BIT_SAMPLE_DISABLE;
  huart3.AdvancedInit.AdvFeatureInit = UART_ADVFEATURE_NO_INIT;
  if (HAL_UART_Init(&huart3) != HAL_OK)
  {
    Error_Handler();
  }

}

static void MX_GPIO_Init(void)
{
  GPIO_InitTypeDef GPIO_InitStruct = {0};

  /* GPIO Ports Clock Enable */
  __HAL_RCC_GPIOE_CLK_ENABLE();
  __HAL_RCC_GPIOC_CLK_ENABLE();
  __HAL_RCC_GPIOF_CLK_ENABLE();
  __HAL_RCC_GPIOA_CLK_ENABLE();
  __HAL_RCC_GPIOB_CLK_ENABLE();

  /*Configure GPIO pin Output Level */
  HAL_GPIO_WritePin(GPIOE, CS_I2C_SPI_Pin|LD4_Pin|LD3_Pin|LD5_Pin
                          |LD7_Pin|LD9_Pin|LD10_Pin|LD8_Pin
                          |LD6_Pin, GPIO_PIN_RESET);

  /*Configure GPIO pins : DRDY_Pin MEMS_INT3_Pin MEMS_INT4_Pin MEMS_INT1_Pin
                           MEMS_INT2_Pin */
  GPIO_InitStruct.Pin = DRDY_Pin|MEMS_INT3_Pin|MEMS_INT4_Pin|MEMS_INT1_Pin
                          |MEMS_INT2_Pin;
  GPIO_InitStruct.Mode = GPIO_MODE_EVT_RISING;
  GPIO_InitStruct.Pull = GPIO_NOPULL;
  HAL_GPIO_Init(GPIOE, &GPIO_InitStruct);

  /* --- MEMS_INT2 (PE1) real EXTI interrupt --- */
	GPIO_InitStruct.Pin = MEMS_INT2_Pin;       // GPIO_PIN_1
	GPIO_InitStruct.Mode = GPIO_MODE_IT_RISING;
	GPIO_InitStruct.Pull = GPIO_NOPULL;
	HAL_GPIO_Init(GPIOE, &GPIO_InitStruct);

  /*Configure GPIO pin : CS_I2C_SPI_Pin */
  GPIO_InitStruct.Pin = CS_I2C_SPI_Pin;
  GPIO_InitStruct.Mode = GPIO_MODE_OUTPUT_PP;
  GPIO_InitStruct.Pull = GPIO_NOPULL;
  GPIO_InitStruct.Speed = GPIO_SPEED_FREQ_HIGH;
  HAL_GPIO_Init(CS_I2C_SPI_GPIO_Port, &GPIO_InitStruct);

  /*Configure GPIO pin : B1_Pin */
  GPIO_InitStruct.Pin = B1_Pin;
  GPIO_InitStruct.Mode = GPIO_MODE_INPUT;
  GPIO_InitStruct.Pull = GPIO_NOPULL;
  HAL_GPIO_Init(B1_GPIO_Port, &GPIO_InitStruct);

  /*Configure GPIO pins : LD4_Pin LD3_Pin LD5_Pin LD7_Pin
                           LD9_Pin LD10_Pin LD8_Pin LD6_Pin */
  GPIO_InitStruct.Pin = LD4_Pin|LD3_Pin|LD5_Pin|LD7_Pin
                          |LD9_Pin|LD10_Pin|LD8_Pin|LD6_Pin;
  GPIO_InitStruct.Mode = GPIO_MODE_OUTPUT_PP;
  GPIO_InitStruct.Pull = GPIO_NOPULL;
  GPIO_InitStruct.Speed = GPIO_SPEED_FREQ_LOW;
  HAL_GPIO_Init(GPIOE, &GPIO_InitStruct);

  /* USER CODE BEGIN MX_GPIO_Init_2 */
  HAL_NVIC_SetPriority(EXTI1_IRQn, 0, 0);
  HAL_NVIC_EnableIRQ(EXTI1_IRQn);
  /* USER CODE END MX_GPIO_Init_2 */
}

void Error_Handler(void)
{
  __disable_irq();
  while (1)
  {
  }
}
